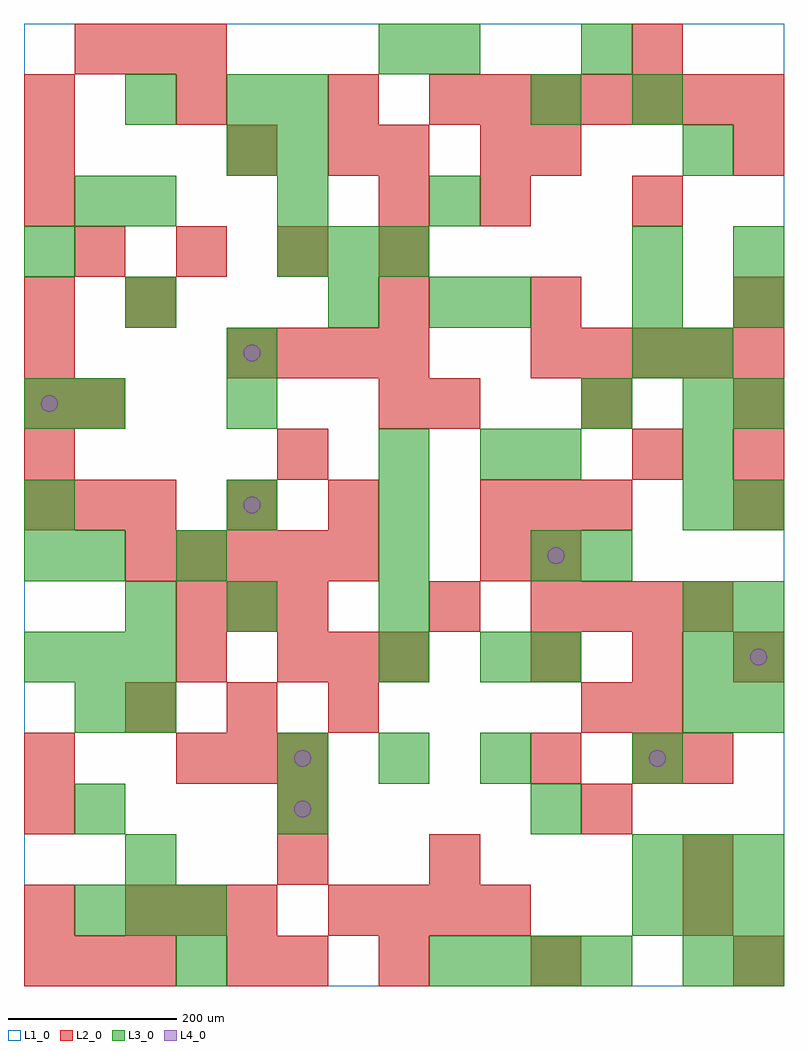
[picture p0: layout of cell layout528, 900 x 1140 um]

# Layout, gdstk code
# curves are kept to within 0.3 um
import gdstk
lib = gdstk.Library(unit=1e-6, precision=1e-09)
def R(c, l, rs):  # rectangles x0, y0, x1, y1
    for r in rs: c.add(gdstk.rectangle(r[:2], r[2:], *l))
def A(c, l, x, y, w, h, nx, ny, dx, dy):  # array of equal rectangles
    R(c, l, [(x+i*dx, y+j*dy, x+i*dx+w, y+j*dy+h) for i in range(nx) for j in range(ny)])
def P(c, l, *ps):  # polygons
    for p in ps: c.add(gdstk.Polygon(p, *l))
L1_0 = (1, 0)
L2_0 = (2, 0)
L3_0 = (3, 0)
L4_0 = (4, 0)

layout528 = lib.new_cell('layout528')
R(layout528, L1_0, [(0,0,900,1140)])
A(layout528, L2_0, 0, 0, 60, 60, 3, 2, 60, 540)
A(layout528, L2_0, 600, 0, 60, 60, 1, 3, 0, 240)
A(layout528, L2_0, 120, 60, 60, 60, 3, 1, 60, 0)
A(layout528, L2_0, 360, 60, 60, 60, 4, 1, 60, 0)
A(layout528, L2_0, 180, 240, 60, 60, 3, 2, 60, 180)
A(layout528, L2_0, 120, 300, 60, 60, 3, 1, 120, 0)
A(layout528, L2_0, 720, 300, 60, 60, 1, 3, 0, 300)
A(layout528, L2_0, 300, 360, 60, 60, 3, 1, 60, 0)
A(layout528, L2_0, 600, 360, 60, 60, 3, 1, 120, 0)
A(layout528, L2_0, 600, 420, 60, 60, 4, 1, 60, 0)
A(layout528, L2_0, 120, 480, 60, 60, 5, 1, 60, 0)
A(layout528, L2_0, 540, 540, 60, 60, 3, 1, 60, 0)
A(layout528, L2_0, 0, 600, 60, 60, 1, 4, 0, 60)
A(layout528, L2_0, 840, 600, 60, 60, 1, 3, 0, 180)
A(layout528, L2_0, 420, 660, 60, 60, 1, 3, 0, 120)
A(layout528, L2_0, 480, 660, 60, 60, 3, 1, 180, 0)
A(layout528, L2_0, 240, 720, 60, 60, 4, 1, 60, 0)
A(layout528, L2_0, 600, 720, 60, 60, 5, 1, 60, 0)
A(layout528, L2_0, 60, 840, 60, 60, 4, 1, 120, 0)
A(layout528, L2_0, 0, 1020, 60, 60, 3, 1, 180, 0)
A(layout528, L2_0, 480, 1020, 60, 60, 7, 1, 60, 0)
A(layout528, L2_0, 60, 1080, 60, 60, 3, 1, 60, 0)
R(layout528, L2_0, [(240,0,300,60), (300,0,360,60), (420,0,480,60), (840,0,900,60), (0,60,60,120), (780,60,840,120), (300,120,360,180), (480,120,540,180), (780,120,840,180), (0,180,60,240), (300,180,360,240), (660,180,720,240), (0,240,60,300), (720,240,780,300), (780,240,840,300), (660,300,720,360), (180,360,240,420), (480,420,540,480), (540,480,600,540), (240,540,300,600), (360,540,420,600), (840,540,900,600), (300,600,360,660), (60,660,120,720), (120,780,180,840), (600,780,660,840), (0,900,60,960), (540,900,600,960), (0,960,60,1020), (240,960,300,1020), (360,960,420,1020), (420,960,480,1020), (540,960,600,1020), (600,960,660,1020), (720,1080,780,1140)])
A(layout528, L3_0, 480, 0, 60, 60, 4, 1, 60, 0)
A(layout528, L3_0, 60, 60, 60, 60, 3, 1, 60, 0)
A(layout528, L3_0, 720, 60, 60, 60, 3, 2, 60, 60)
A(layout528, L3_0, 300, 240, 60, 60, 3, 1, 120, 0)
A(layout528, L3_0, 60, 300, 60, 60, 1, 3, 0, 180)
A(layout528, L3_0, 780, 300, 60, 60, 1, 3, 0, 60)
A(layout528, L3_0, 840, 300, 60, 60, 1, 3, 0, 60)
A(layout528, L3_0, 0, 360, 60, 60, 3, 1, 60, 0)
A(layout528, L3_0, 420, 360, 60, 60, 1, 5, 0, 60)
A(layout528, L3_0, 600, 360, 60, 60, 1, 3, 0, 120)
A(layout528, L3_0, 240, 420, 60, 60, 1, 3, 0, 120)
A(layout528, L3_0, 780, 540, 60, 60, 1, 4, 0, 60)
A(layout528, L3_0, 840, 540, 60, 60, 1, 3, 0, 120)
A(layout528, L3_0, 720, 720, 60, 60, 1, 3, 0, 60)
A(layout528, L3_0, 300, 840, 60, 60, 3, 1, 60, 0)
A(layout528, L3_0, 120, 900, 60, 60, 3, 1, 180, 0)
R(layout528, L3_0, [(180,0,240,60), (780,0,840,60), (840,0,900,60), (120,120,180,180), (60,180,120,240), (300,180,360,240), (600,180,660,240), (720,240,780,300), (120,300,180,360), (540,360,600,420), (120,420,180,480), (0,480,60,540), (180,480,240,540), (660,480,720,540), (0,540,60,600), (540,600,600,660), (0,660,60,720), (660,660,720,720), (240,720,300,780), (120,780,180,840), (360,780,420,840), (480,780,540,840), (540,780,600,840), (0,840,60,900), (840,840,900,900), (60,900,120,960), (240,960,300,1020), (300,960,360,1020), (780,960,840,1020), (120,1020,180,1080), (240,1020,300,1080), (300,1020,360,1080), (600,1020,660,1080), (720,1020,780,1080), (420,1080,480,1140), (480,1080,540,1140), (660,1080,720,1140)])
P(layout528, L4_0, [(40,690),(39.239,693.827),(37.071,697.071),(33.827,699.239),(30,700),(26.173,699.239),(22.929,697.071),(20.761,693.827),(20,690),(20.761,686.173),(22.929,682.929),(26.173,680.761),(30,680),(33.827,680.761),(37.071,682.929),(39.239,686.173)],
  [(280,570),(279.239,573.827),(277.071,577.071),(273.827,579.239),(270,580),(266.173,579.239),(262.929,577.071),(260.761,573.827),(260,570),(260.761,566.173),(262.929,562.929),(266.173,560.761),(270,560),(273.827,560.761),(277.071,562.929),(279.239,566.173)],
  [(280,750),(279.239,753.827),(277.071,757.071),(273.827,759.239),(270,760),(266.173,759.239),(262.929,757.071),(260.761,753.827),(260,750),(260.761,746.173),(262.929,742.929),(266.173,740.761),(270,740),(273.827,740.761),(277.071,742.929),(279.239,746.173)],
  [(340,210),(339.239,213.827),(337.071,217.071),(333.827,219.239),(330,220),(326.173,219.239),(322.929,217.071),(320.761,213.827),(320,210),(320.761,206.173),(322.929,202.929),(326.173,200.761),(330,200),(333.827,200.761),(337.071,202.929),(339.239,206.173)],
  [(340,270),(339.239,273.827),(337.071,277.071),(333.827,279.239),(330,280),(326.173,279.239),(322.929,277.071),(320.761,273.827),(320,270),(320.761,266.173),(322.929,262.929),(326.173,260.761),(330,260),(333.827,260.761),(337.071,262.929),(339.239,266.173)],
  [(640,510),(639.239,513.827),(637.071,517.071),(633.827,519.239),(630,520),(626.173,519.239),(622.929,517.071),(620.761,513.827),(620,510),(620.761,506.173),(622.929,502.929),(626.173,500.761),(630,500),(633.827,500.761),(637.071,502.929),(639.239,506.173)],
  [(760,270),(759.239,273.827),(757.071,277.071),(753.827,279.239),(750,280),(746.173,279.239),(742.929,277.071),(740.761,273.827),(740,270),(740.761,266.173),(742.929,262.929),(746.173,260.761),(750,260),(753.827,260.761),(757.071,262.929),(759.239,266.173)],
  [(880,390),(879.239,393.827),(877.071,397.071),(873.827,399.239),(870,400),(866.173,399.239),(862.929,397.071),(860.761,393.827),(860,390),(860.761,386.173),(862.929,382.929),(866.173,380.761),(870,380),(873.827,380.761),(877.071,382.929),(879.239,386.173)])

lib.write_gds('layout528.gds')
